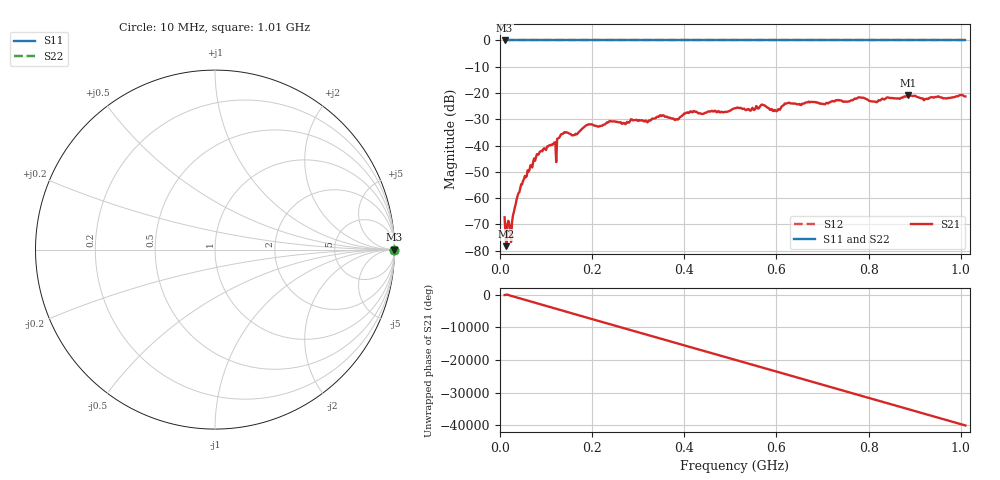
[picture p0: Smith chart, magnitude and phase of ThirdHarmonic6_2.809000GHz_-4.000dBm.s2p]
! 8/17/2025 7:21:51 AM
! C:\ANRITSUVNA\TEMP\TEMP.S2P
! CHANNEL.1
! TR.MEASUREMENT
! RAW.DATA
! RF.CORRECTION.OFF
! AVERAGING.OFF
! IF.BANDWIDTH: 5KHZ
! SWEEPTYPE:  FREQ.SWEEP(Linear)
! Reference Plane Port Info
! PORT:  PORT1  PORT2
! DISTANCE:  0  m  0  m
! TIME:  0  s  0  s
! PHASE.OFFSET:  0  deg.  0  deg.
! LOSS:  0  dB  0  dB
! REF.LOSS:  0  dB  0  dB
! REF.FREQ:  0  Hz  0  Hz
! Power Info
! POWER:  -20  dBm  -20  dBm
! EFF.POWER:  -20  dBm  -20  dBm
! SOURCE.ATTEN:  0  dB  0  dB
! TEST.ATTEN:  0  dB  0  dB
# GHZ S RI R 50.0
! FREQ.GHZ  S11RE  S11IM  S21RE  S21IM  S12RE  S12IM  S22RE  S22IM
!; PortSelection: Port_12
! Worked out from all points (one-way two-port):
!   501 points, 10 MHz to 1.01 GHz, reference 50 ohm
!   highest |S21| = -20.68 dB at 886 MHz (marker M1); lowest = -78.3 dB at 14 MHz (marker M2)
!   lowest |S11| = 0.0 dB at 10 MHz (marker M3)
!   |S11| at or under -10 dB: nowhere
!   |S22| runs from 0.0 to 0.0 dB; largest |S21 - S12| = 1.1
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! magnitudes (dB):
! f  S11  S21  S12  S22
! 10 MHz  0.0  -67.3  0.0  0.0
! 14 MHz  0.0  -78.3  0.0  0.0
! 26 MHz  0.0  -69.3  0.0  0.0
! 36 MHz  0.0  -60.5  0.0  0.0
! 50 MHz  0.0  -53.4  0.0  0.0
! 84 MHz  0.0  -43.3  0.0  0.0
! 116 MHz  0.0  -39.2  0.0  0.0
! 118 MHz  0.0  -38.8  0.0  0.0
! 136 MHz  0.0  -35.6  0.0  0.0
! 162 MHz  0.0  -35.9  0.0  0.0
! 178 MHz  0.0  -33.6  0.0  0.0
! 344 MHz  0.0  -29.1  0.0  0.0
! 382 MHz  0.0  -30.0  0.0  0.0
! 410 MHz  0.0  -27.6  0.0  0.0
! 510 MHz  0.0  -25.7  0.0  0.0
! 570 MHz  0.0  -24.5  0.0  0.0
! 596 MHz  0.0  -26.4  0.0  0.0
! 622 MHz  0.0  -24.0  0.0  0.0
! 678 MHz  0.0  -23.4  0.0  0.0
! 844 MHz  0.0  -21.8  0.0  0.0
! 886 MHz  0.0  -20.7  0.0  0.0
! 1.01 GHz  0.0  -21.3  0.0  0.0
